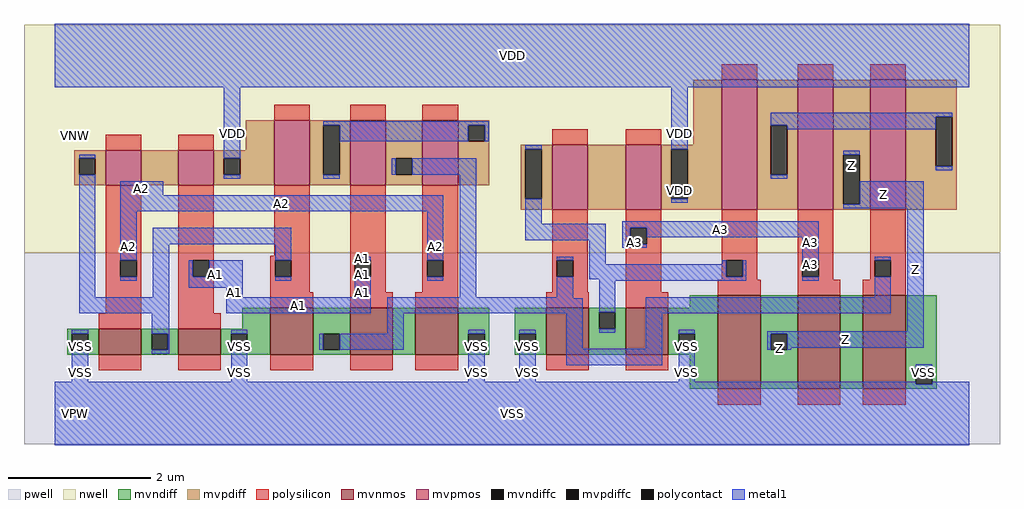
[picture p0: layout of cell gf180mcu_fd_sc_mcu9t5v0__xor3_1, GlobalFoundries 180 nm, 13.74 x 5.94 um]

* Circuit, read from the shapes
.subckt gf180mcu_fd_sc_mcu9t5v0__xor3_1 A1 A2 A3 Z VDD VNW VPW VSS
XM1 n1 A2 VSS VPW nfet_06v0 w=0.36u l=0.6u
XM2 VSS A1 n1 VPW nfet_06v0 w=0.36u l=0.6u
XM3 n2 n1 VSS VPW nfet_06v0 w=0.66u l=0.6u
XM4 n3 A1 n2 VPW nfet_06v0 w=0.66u l=0.6u
XM5 VSS A2 n3 VPW nfet_06v0 w=0.66u l=0.6u
XM6 n4 n2 VSS VPW nfet_06v0 w=0.66u l=0.6u
XM7 VSS A3 n4 VPW nfet_06v0 w=0.66u l=0.6u
XM8 Z n4 VSS VPW nfet_06v0 w=1.32u l=0.6u
XM9 n5 A3 Z VPW nfet_06v0 w=1.32u l=0.6u
XM10 VSS n2 n5 VPW nfet_06v0 w=1.32u l=0.6u
XM11 n6 A2 n1 VNW pfet_06v0 w=0.495u l=0.5u
XM12 VDD A1 n6 VNW pfet_06v0 w=0.495u l=0.5u
XM13 n7 n1 VDD VNW pfet_06v0 w=0.915u l=0.5u
XM14 n2 A1 n7 VNW pfet_06v0 w=0.915u l=0.5u
XM15 n7 A2 n2 VNW pfet_06v0 w=0.915u l=0.5u
XM16 n8 n2 n4 VNW pfet_06v0 w=0.915u l=0.5u
XM17 VDD A3 n8 VNW pfet_06v0 w=0.915u l=0.5u
XM18 n9 n4 VDD VNW pfet_06v0 w=1.83u l=0.5u
XM19 Z A3 n9 VNW pfet_06v0 w=1.83u l=0.5u
XM20 n9 n2 Z VNW pfet_06v0 w=1.83u l=0.5u
.ends

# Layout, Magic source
magic
tech gf180mcuD
magscale 1 10
<< nwell >>
rect -86 453 2662 1094
<< pwell >>
rect -86 -86 2662 453
<< mvnmos >>
rect 124 166 244 238
rect 348 166 468 238
rect 608 166 728 298
rect 832 166 952 298
rect 1016 166 1136 298
rect 1384 166 1504 298
rect 1608 166 1728 298
rect 1868 69 1988 333
rect 2092 69 2212 333
rect 2276 69 2396 333
<< mvpmos >>
rect 144 642 244 741
rect 348 642 448 741
rect 618 642 718 825
rect 832 642 932 825
rect 1036 642 1136 825
rect 1401 574 1501 757
rect 1608 574 1708 757
rect 1878 574 1978 940
rect 2092 574 2192 940
rect 2296 574 2396 940
<< mvndiff >>
rect 1788 298 1868 333
rect 528 238 608 298
rect 36 225 124 238
rect 36 179 49 225
rect 95 179 124 225
rect 36 166 124 179
rect 244 225 348 238
rect 244 179 273 225
rect 319 179 348 225
rect 244 166 348 179
rect 468 225 608 238
rect 468 179 497 225
rect 543 179 608 225
rect 468 166 608 179
rect 728 225 832 298
rect 728 179 757 225
rect 803 179 832 225
rect 728 166 832 179
rect 952 166 1016 298
rect 1136 225 1224 298
rect 1136 179 1165 225
rect 1211 179 1224 225
rect 1136 166 1224 179
rect 1296 225 1384 298
rect 1296 179 1309 225
rect 1355 179 1384 225
rect 1296 166 1384 179
rect 1504 285 1608 298
rect 1504 239 1533 285
rect 1579 239 1608 285
rect 1504 166 1608 239
rect 1728 225 1868 298
rect 1728 179 1757 225
rect 1803 179 1868 225
rect 1728 166 1868 179
rect 1788 69 1868 166
rect 1988 225 2092 333
rect 1988 179 2017 225
rect 2063 179 2092 225
rect 1988 69 2092 179
rect 2212 69 2276 333
rect 2396 128 2484 333
rect 2396 82 2425 128
rect 2471 82 2484 128
rect 2396 69 2484 82
<< mvpdiff >>
rect 538 741 618 825
rect 56 718 144 741
rect 56 672 69 718
rect 115 672 144 718
rect 56 642 144 672
rect 244 642 348 741
rect 448 718 618 741
rect 448 672 477 718
rect 523 672 618 718
rect 448 642 618 672
rect 718 812 832 825
rect 718 672 757 812
rect 803 672 832 812
rect 718 642 832 672
rect 932 718 1036 825
rect 932 672 961 718
rect 1007 672 1036 718
rect 932 642 1036 672
rect 1136 812 1224 825
rect 1136 766 1165 812
rect 1211 766 1224 812
rect 1136 642 1224 766
rect 1798 757 1878 940
rect 1313 744 1401 757
rect 1313 604 1326 744
rect 1372 604 1401 744
rect 1313 574 1401 604
rect 1501 574 1608 757
rect 1708 744 1878 757
rect 1708 604 1737 744
rect 1783 604 1878 744
rect 1708 574 1878 604
rect 1978 812 2092 940
rect 1978 672 2017 812
rect 2063 672 2092 812
rect 1978 574 2092 672
rect 2192 729 2296 940
rect 2192 589 2221 729
rect 2267 589 2296 729
rect 2192 574 2296 589
rect 2396 836 2540 940
rect 2396 696 2481 836
rect 2527 696 2540 836
rect 2396 574 2540 696
<< mvndiffc >>
rect 49 179 95 225
rect 273 179 319 225
rect 497 179 543 225
rect 757 179 803 225
rect 1165 179 1211 225
rect 1309 179 1355 225
rect 1533 239 1579 285
rect 1757 179 1803 225
rect 2017 179 2063 225
rect 2425 82 2471 128
<< mvpdiffc >>
rect 69 672 115 718
rect 477 672 523 718
rect 757 672 803 812
rect 961 672 1007 718
rect 1165 766 1211 812
rect 1326 604 1372 744
rect 1737 604 1783 744
rect 2017 672 2063 812
rect 2221 589 2267 729
rect 2481 696 2527 836
<< polysilicon >>
rect 1878 940 1978 984
rect 2092 940 2192 984
rect 2296 940 2396 984
rect 618 825 718 869
rect 832 825 932 869
rect 1036 825 1136 869
rect 144 741 244 785
rect 348 741 448 785
rect 1401 757 1501 801
rect 1608 757 1708 801
rect 144 431 244 642
rect 144 385 185 431
rect 231 385 244 431
rect 144 282 244 385
rect 124 238 244 282
rect 348 431 448 642
rect 618 444 718 642
rect 348 385 389 431
rect 435 385 448 431
rect 348 282 448 385
rect 608 431 718 444
rect 608 385 621 431
rect 667 385 718 431
rect 608 342 718 385
rect 832 431 932 642
rect 832 385 845 431
rect 891 385 932 431
rect 832 342 932 385
rect 1036 431 1136 642
rect 1036 385 1049 431
rect 1095 385 1136 431
rect 1036 342 1136 385
rect 1401 431 1501 574
rect 1401 385 1414 431
rect 1460 385 1501 431
rect 1401 342 1501 385
rect 1608 523 1708 574
rect 1608 477 1621 523
rect 1667 477 1708 523
rect 1608 342 1708 477
rect 1878 431 1978 574
rect 1878 385 1891 431
rect 1937 385 1978 431
rect 1878 377 1978 385
rect 2092 431 2192 574
rect 2092 385 2105 431
rect 2151 385 2192 431
rect 2092 377 2192 385
rect 2296 431 2396 574
rect 2296 385 2309 431
rect 2355 385 2396 431
rect 2296 377 2396 385
rect 608 298 728 342
rect 832 298 952 342
rect 1016 298 1136 342
rect 1384 298 1504 342
rect 1608 298 1728 342
rect 1868 333 1988 377
rect 2092 333 2212 377
rect 2276 333 2396 377
rect 348 238 468 282
rect 124 122 244 166
rect 348 122 468 166
rect 608 122 728 166
rect 832 122 952 166
rect 1016 122 1136 166
rect 1384 122 1504 166
rect 1608 122 1728 166
rect 1868 25 1988 69
rect 2092 25 2212 69
rect 2276 25 2396 69
<< polycontact >>
rect 185 385 231 431
rect 389 385 435 431
rect 621 385 667 431
rect 845 385 891 431
rect 1049 385 1095 431
rect 1414 385 1460 431
rect 1621 477 1667 523
rect 1891 385 1937 431
rect 2105 385 2151 431
rect 2309 385 2355 431
<< metal1 >>
rect 0 918 2576 1098
rect 69 718 115 729
rect 69 328 115 672
rect 477 718 523 918
rect 477 661 523 672
rect 757 812 1222 823
rect 803 766 1165 812
rect 1211 766 1222 812
rect 1326 744 1372 755
rect 950 672 961 718
rect 1007 672 1187 718
rect 757 661 803 672
rect 185 615 306 654
rect 185 569 1095 615
rect 185 431 231 569
rect 185 374 231 385
rect 277 477 667 523
rect 277 328 323 477
rect 621 431 667 477
rect 378 385 389 431
rect 435 385 530 431
rect 378 354 530 385
rect 621 374 667 385
rect 845 431 891 442
rect 69 282 323 328
rect 484 328 530 354
rect 845 328 891 385
rect 1049 431 1095 569
rect 1049 374 1095 385
rect 1141 328 1187 672
rect 1326 534 1372 604
rect 1737 744 1783 918
rect 2017 836 2527 847
rect 2017 812 2481 836
rect 2063 801 2481 812
rect 2017 661 2063 672
rect 2221 729 2267 740
rect 1737 593 1783 604
rect 2481 685 2527 696
rect 2267 589 2447 654
rect 2221 578 2447 589
rect 1326 488 1552 534
rect 1414 431 1460 442
rect 1414 328 1460 385
rect 1506 420 1552 488
rect 1598 523 2151 542
rect 1598 477 1621 523
rect 1667 496 2151 523
rect 1598 466 1667 477
rect 2105 431 2151 496
rect 1880 420 1891 431
rect 1506 385 1891 420
rect 1937 385 1948 431
rect 1506 378 1948 385
rect 484 282 891 328
rect 937 324 1460 328
rect 1533 374 1948 378
rect 2105 374 2151 385
rect 2309 431 2355 442
rect 937 282 1487 324
rect 49 225 95 236
rect 49 90 95 179
rect 273 225 323 282
rect 319 179 323 225
rect 273 168 323 179
rect 497 225 543 236
rect 937 225 983 282
rect 746 179 757 225
rect 803 179 983 225
rect 1165 225 1211 236
rect 497 90 543 179
rect 1165 90 1211 179
rect 1309 225 1355 236
rect 1309 90 1355 179
rect 1441 182 1487 282
rect 1533 285 1579 374
rect 2309 328 2355 385
rect 1533 228 1579 239
rect 1665 282 2355 328
rect 1665 182 1711 282
rect 1441 136 1711 182
rect 1757 225 1803 236
rect 2401 231 2447 578
rect 2006 225 2447 231
rect 2006 179 2017 225
rect 2063 185 2447 225
rect 2063 179 2074 185
rect 1757 90 1803 179
rect 2425 128 2471 139
rect 0 82 2425 90
rect 2471 82 2576 90
rect 0 -90 2576 82
<< labels >>
flabel metal1 s 845 431 891 442 0 FreeSans 200 0 0 0 A1
port 1 nsew default input
flabel metal1 s 185 615 306 654 0 FreeSans 200 0 0 0 A2
port 2 nsew default input
flabel metal1 s 1598 496 2151 542 0 FreeSans 200 0 0 0 A3
port 3 nsew default input
flabel metal1 s 0 918 2576 1098 0 FreeSans 200 0 0 0 VDD
port 5 nsew power bidirectional abutment
flabel metal1 s 1757 139 1803 236 0 FreeSans 200 0 0 0 VSS
port 8 nsew ground bidirectional abutment
flabel metal1 s 2221 654 2267 740 0 FreeSans 200 0 0 0 Z
port 4 nsew default output
flabel nwell s 10 734 110 834 0 FreeSans 400 0 0 0 VNW
port 6 nsew power bidirectional
flabel pwell s 10 -50 110 50 0 FreeSans 400 0 0 0 VPW
port 7 nsew ground bidirectional
rlabel metal1 s 845 354 891 431 1 A1
port 1 nsew default input
rlabel metal1 s 378 354 530 431 1 A1
port 1 nsew default input
rlabel metal1 s 845 328 891 354 1 A1
port 1 nsew default input
rlabel metal1 s 484 328 530 354 1 A1
port 1 nsew default input
rlabel metal1 s 484 282 891 328 1 A1
port 1 nsew default input
rlabel metal1 s 185 569 1095 615 1 A2
port 2 nsew default input
rlabel metal1 s 1049 374 1095 569 1 A2
port 2 nsew default input
rlabel metal1 s 185 374 231 569 1 A2
port 2 nsew default input
rlabel metal1 s 2105 466 2151 496 1 A3
port 3 nsew default input
rlabel metal1 s 1598 466 1667 496 1 A3
port 3 nsew default input
rlabel metal1 s 2105 374 2151 466 1 A3
port 3 nsew default input
rlabel metal1 s 2221 578 2447 654 1 Z
port 4 nsew default output
rlabel metal1 s 2401 231 2447 578 1 Z
port 4 nsew default output
rlabel metal1 s 2006 185 2447 231 1 Z
port 4 nsew default output
rlabel metal1 s 2006 179 2074 185 1 Z
port 4 nsew default output
rlabel metal1 s 1737 661 1783 918 1 VDD
port 5 nsew power bidirectional abutment
rlabel metal1 s 477 661 523 918 1 VDD
port 5 nsew power bidirectional abutment
rlabel metal1 s 1737 593 1783 661 1 VDD
port 5 nsew power bidirectional abutment
rlabel metal1 s 1309 139 1355 236 1 VSS
port 8 nsew ground bidirectional abutment
rlabel metal1 s 1165 139 1211 236 1 VSS
port 8 nsew ground bidirectional abutment
rlabel metal1 s 497 139 543 236 1 VSS
port 8 nsew ground bidirectional abutment
rlabel metal1 s 49 139 95 236 1 VSS
port 8 nsew ground bidirectional abutment
rlabel metal1 s 2425 90 2471 139 1 VSS
port 8 nsew ground bidirectional abutment
rlabel metal1 s 1757 90 1803 139 1 VSS
port 8 nsew ground bidirectional abutment
rlabel metal1 s 1309 90 1355 139 1 VSS
port 8 nsew ground bidirectional abutment
rlabel metal1 s 1165 90 1211 139 1 VSS
port 8 nsew ground bidirectional abutment
rlabel metal1 s 497 90 543 139 1 VSS
port 8 nsew ground bidirectional abutment
rlabel metal1 s 49 90 95 139 1 VSS
port 8 nsew ground bidirectional abutment
rlabel metal1 s 0 -90 2576 90 1 VSS
port 8 nsew ground bidirectional abutment
<< properties >>
string FIXED_BBOX 0 0 2576 1008
string GDS_END 505472
string GDS_FILE $PDKPATH/libs.ref/gf180mcu_fd_sc_mcu9t5v0/gds/gf180mcu_fd_sc_mcu9t5v0.gds
string GDS_START 499134
string LEFclass core
string LEFsite GF018hv5v_green_sc9
string LEFsymmetry X Y
<< end >>
